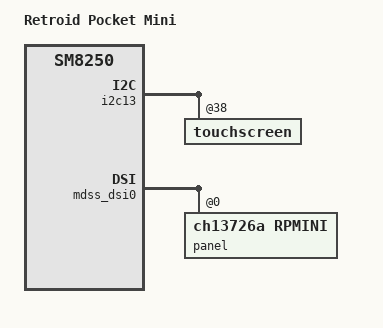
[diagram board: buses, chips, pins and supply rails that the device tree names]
// SPDX-License-Identifier: BSD-3-Clause
/*
 * Copyright (c) 2024, Retroid Pocket.
 */

/dts-v1/;

#include "sm8250-retroidpocket-common.dtsi"

/ {
	model = "Retroid Pocket Mini";
	compatible = "retroidpocket,rpmini", "qcom,sm8250";

	chosen {
		#address-cells = <2>;
		#size-cells = <2>;
		ranges;

		framebuffer: framebuffer@9c000000 {
			compatible = "simple-framebuffer";
			reg = <0x0 0x9c000000 0x0 0x2300000>;
			width = <960>;
			height = <1280>;
			stride = <(960 * 4)>;
			format = "a8r8g8b8";
		};
	};
};

&i2c13 {
	touchscreen@38 {
		touchscreen-size-x = <960>;
		touchscreen-size-y = <1280>;
	};
};

&mdss_dsi0 {
	panel@0 {
		compatible = "ch13726a,rpmini";
		rotation = <90>;
	};
};
